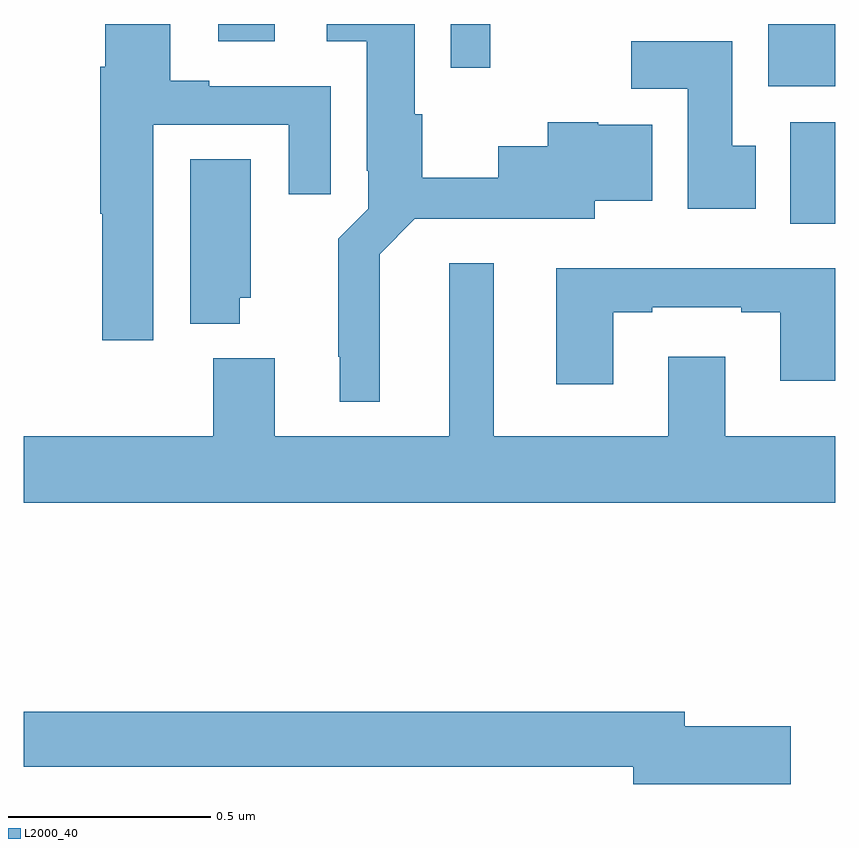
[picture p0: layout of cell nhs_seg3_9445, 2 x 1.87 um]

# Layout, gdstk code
import gdstk
lib = gdstk.Library(unit=1e-6, precision=1e-09)
def R(c, l, rs):  # rectangles x0, y0, x1, y1
    for r in rs: c.add(gdstk.rectangle(r[:2], r[2:], *l))
def P(c, l, *ps):  # polygons
    for p in ps: c.add(gdstk.Polygon(p, *l))
L2000_40 = (2000, 40)

nhs_seg3_9445 = lib.new_cell('nhs_seg3_9445')
R(nhs_seg3_9445, L2000_40, [(229.889,730.908,230,731.158), (229.835,731.246,230,731.4), (229.053,731.292,229.15,731.4), (228.479,731.358,228.619,731.4)])
P(nhs_seg3_9445, L2000_40, [(228.877,730.832),(228.964,730.92),(229.408,730.92),(229.408,730.964),(229.549,730.964),(229.549,731.152),(229.416,731.152),(229.416,731.158),(229.291,731.158),(229.291,731.098),(229.169,731.098),(229.169,731.021),(228.982,731.021),(228.982,731.178),(228.964,731.178),(228.964,731.4),(228.747,731.4),(228.747,731.357),(228.845,731.357),(228.845,731.038),(228.849,731.038),(228.849,730.944),(228.775,730.87),(228.775,730.579),(228.779,730.579),(228.779,730.469),(228.877,730.469)],
  [(228.319,731.151),(228.653,731.151),(228.653,730.98),(228.757,730.98),(228.757,731.247),(228.457,731.247),(228.457,731.26),(228.361,731.26),(228.361,731.4),(228.2,731.4),(228.2,731.294),(228.188,731.294),(228.188,730.932),(228.193,730.932),(228.193,730.62),(228.319,730.62)],
  [(229.804,731.1),(229.747,731.1),(229.747,731.358),(229.498,731.358),(229.498,731.24),(229.637,731.24),(229.637,730.944),(229.804,730.944)],
  [(228.532,730.725),(228.559,730.725),(228.559,731.066),(228.41,731.066),(228.41,730.661),(228.532,730.661)],
  [(230,730.384),(229.729,730.384),(229.729,730.579),(229.589,730.579),(229.589,730.384),(229.159,730.384),(229.159,730.81),(229.049,730.81),(229.049,730.384),(228.619,730.384),(228.619,730.576),(228.467,730.576),(228.467,730.384),(228,730.384),(228,730.22),(230,730.22)],
  [(229.453,730.689),(229.549,730.689),(229.549,730.701),(229.769,730.701),(229.769,730.689),(229.865,730.689),(229.865,730.52),(230,730.52),(230,730.798),(229.313,730.798),(229.313,730.512),(229.453,730.512)],
  [(229.891,729.668),(229.63,729.668),(229.63,729.704),(228,729.704),(228,729.568),(229.502,729.568),(229.502,729.526),(229.891,729.526)])

lib.write_gds('nhs_seg3_9445.gds')
